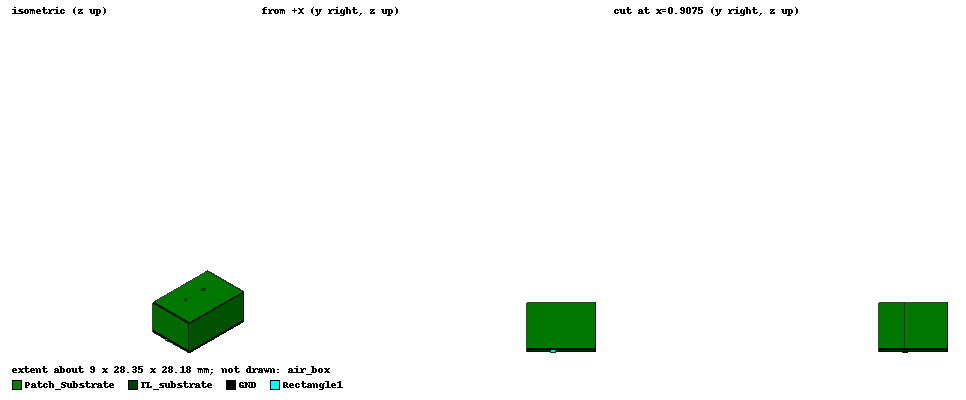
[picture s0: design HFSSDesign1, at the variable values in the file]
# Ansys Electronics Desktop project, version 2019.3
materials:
  vacuum: permittivity=1
  conformal_coat: permittivity=3.1 permeability=1 dielectric_loss_tangent=0.035
  SolderMask: permittivity=3.1 dielectric_loss_tangent=0.035
  pec: conductivity=1e+30
  Taconic RF-30 (tm): permittivity=3 dielectric_loss_tangent=0.0014
  copper: permeability=0.999991 conductivity=58000000
  Rogers RO4232 (tm): permittivity=3.2 dielectric_loss_tangent=0.0018
  Rogers RT/duroid 6002 (tm): permittivity=2.94 dielectric_loss_tangent=0.0012
  Isola I-Speed IS (R): permittivity=3.3 dielectric_loss_tangent=0.0064
  Rogers RO4003 (tm): permittivity=3.55 dielectric_loss_tangent=0.0027
  Rogers RO4350 (tm): permittivity=3.66 dielectric_loss_tangent=0.004
  Megtron6_R5755(N): permittivity=3.4 dielectric_loss_tangent=0.0015

design HFSSDesign1 (HFSS, DrivenModal, model units mm)
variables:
  x1 = 2.7612mm-l-1.65mm
  y1 = -1.325m
  z1 = (4.27+0.035-1.07+1) m
  l = 0.3614mm
  w = 3.313mm
  x2 = (-0.4852-1.65) mm
  y2 = -1.325m
  z2 = (4.27+0.035-1.07+1) m
  xc1 = x1+yo+0.02mm
  yc1 = -(w/2)+1mm
  zc1 = 0.2m
  rc = 0.16mm
  xc2 = x2+l-yo-0.02mm
  yc2 = -(w/2)+1mm
  zc2 = 0.2m
  rp = 0.06mm
  hole_height = (4.27+0.035-1.07+1) mm
  wt = 0.432mm
  yt = -(wt/2)-(w/2)+1mm
  yo = 0.1377mm
  h_psub = 4mm
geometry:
  TL_substrate [Rogers RO4003 (tm)] = box(corner=(4mm, -3mm, 0mm), size=(-9mm, 6mm, 0.2mm))
  TL [pec] = box(corner=(4mm, yt, 0mm), size=(-9mm, wt, -0.1mm))
  Patch_Substrate [Rogers RO4003 (tm)] = box(corner=(4mm, -3mm, (0.2+0.035) mm), size=(-9mm, 6mm, h_psub))
  Patch1 = rectangle(corner=(x1, y1, z1), x_size=l, y_size=w)
  Patch2 = rectangle(corner=(x2, y2, z2), x_size=l, y_size=w)
  probe1 [pec] = cylinder(axis=Z, base_centre=(xc1, yc1, zc1-0.2mm), radius=rp, height=(4.27+0.035-1.07+1) mm)
  probe2 [pec] = cylinder(axis=Z, base_centre=(xc2, yc2, zc2-0.2mm), radius=rp, height=(4.27+0.035-1.07+1) mm)
  air_box [vacuum] = box(corner=(4mm, -3mm, -1mm), size=(-9mm, 6mm, 6mm))
  sub_hole1 = cylinder(axis=Z, base_centre=(xc1, yc1, 0mm), radius=rc, height=hole_height)
  sub_hole2 = cylinder(axis=Z, base_centre=(xc2, yc2, 0mm), radius=rc, height=hole_height)
  sub_hole1_1 = sub_hole1.copy()
  sub_hole2_1 = sub_hole2.copy()
  Patch_Substrate.subtract(sub_hole1_1, sub_hole2_1)
  TL_substrate.subtract(sub_hole1, sub_hole2)
  Rectangle1 = rectangle(corner=(4mm, yt, 0.2mm), y_size=0.432mm, z_size=-0.3mm)
  GND [copper] = box(corner=(4mm, -3mm, 0.2mm), size=(-9mm, 6mm, 0.035mm))
  Cylinder1 = cylinder(axis=Z, base_centre=(xc1, yc1, 0mm), radius=0.16mm, height=hole_height)
  GND.subtract(Cylinder1)
  Cylinder2 = cylinder(axis=Z, base_centre=(xc2, yc2, 0mm), radius=rc, height=hole_height)
  GND.subtract(Cylinder2)
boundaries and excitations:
  PerfE2: Perfect E Objects=Patch1
  PerfE3: Perfect E Objects=Patch2
  Rad1: Radiation Faces=air_box.face(+z, +x, +y, -x, -y)
  1: Wave Port Objects=Rectangle1 NumModes=1 Modes{Mode1{CharImp=Zpi}}
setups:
  Setup1: HfssDriven Frequency=30GHz MaxDeltaS=0.02 MaximumPasses=20 MinimumPasses=1 MinimumConvergedPasses=1 PercentRefinement=30 BasisOrder=1 PortAccuracy=2
    sweep Sweep: 5GHz to 55GHz, 101 points; Type=Fast SaveFields
  Setup2: HfssDriven Frequency=30GHz MaxDeltaS=0.02 MaximumPasses=10 MinimumPasses=1 MinimumConvergedPasses=1 PercentRefinement=30 BasisOrder=1 PortAccuracy=2
    sweep Sweep: 15GHz to 45GHz, 101 points; Type=Fast SaveFields
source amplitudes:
  1:1: 1W 0deg
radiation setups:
  Infinite Sphere1: Infinite Sphere Theta=0deg..180deg step 2deg Phi=-180deg..180deg step 2deg
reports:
  Gain Plot 1: GainTotal vs Phi, Theta on Setup1 : LastAdaptive, Infinite Sphere1 [Freq=30GHz]
  S Parameter Plot 14: dB(S(1,1)) vs Freq on Setup1 : Sweep
  S Parameter Plot 15: dB(S(1,1)) vs Freq on Setup1 : Sweep
  rE Plot 1: abs(rETotal) vs Phi, Theta on Setup1 : LastAdaptive, Infinite Sphere1 [Freq=30GHz]
  S Parameter Plot 16: dB(S(1,1)) vs Freq on Setup1 : Sweep
  S Parameter Plot 17: dB(S(1,1)) vs Freq on Setup1 : Sweep
